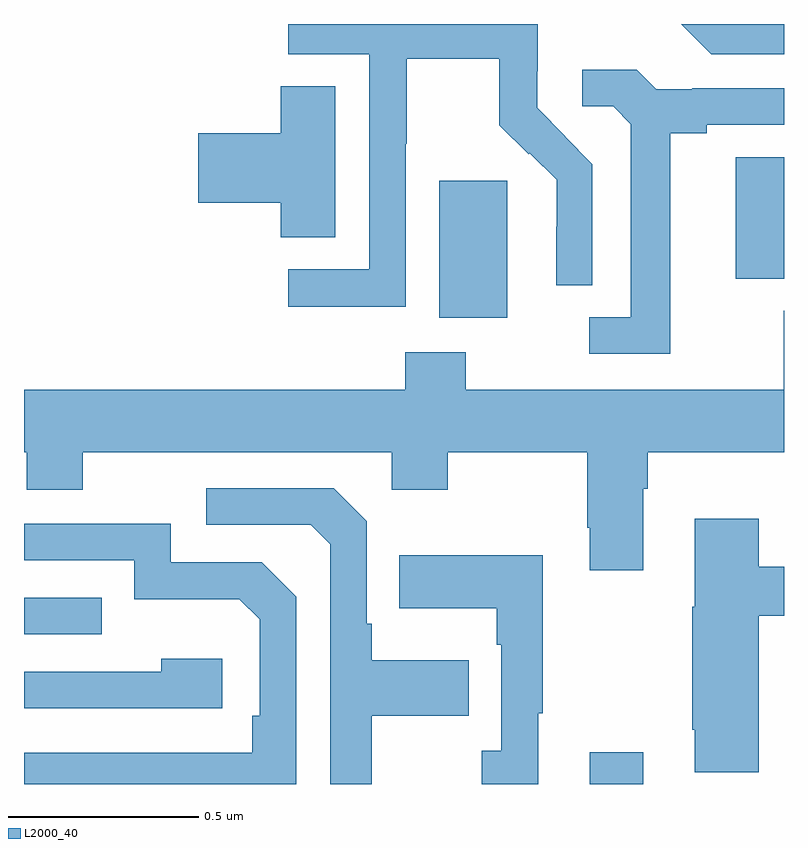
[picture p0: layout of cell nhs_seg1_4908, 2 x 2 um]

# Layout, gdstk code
import gdstk
lib = gdstk.Library(unit=1e-6, precision=1e-09)
def R(c, l, rs):  # rectangles x0, y0, x1, y1
    for r in rs: c.add(gdstk.rectangle(r[:2], r[2:], *l))
def P(c, l, *ps):  # polygons
    for p in ps: c.add(gdstk.Polygon(p, *l))
L2000_40 = (2000, 40)

nhs_seg1_4908 = lib.new_cell('nhs_seg1_4908')
R(nhs_seg1_4908, L2000_40, [(173.489,544.199,173.629,544.282), (172,544.593,172.205,544.689), (173.093,545.426,173.272,545.787), (173.873,545.529,174,545.849)])
P(nhs_seg1_4908, L2000_40, [(173.004,545.884),(173.007,545.884),(173.007,546.108),(173.251,546.108),(173.251,545.933),(173.328,545.856),(173.331,545.859),(173.402,545.789),(173.402,545.666),(173.4,545.666),(173.4,545.512),(173.496,545.512),(173.496,545.83),(173.423,545.903),(173.424,545.904),(173.35,545.978),(173.35,546.075),(173.352,546.075),(173.352,546.199),(172.695,546.199),(172.695,546.12),(172.908,546.12),(172.908,545.553),(172.695,545.553),(172.695,545.455),(173.004,545.455)],
  [(174,546.199),(173.729,546.199),(173.808,546.12),(174,546.12)],
  [(173.701,545.912),(173.797,545.912),(173.797,545.934),(174,545.934),(174,546.03),(173.758,546.03),(173.758,546.027),(173.664,546.027),(173.612,546.079),(173.469,546.079),(173.469,545.982),(173.55,545.982),(173.597,545.935),(173.597,545.427),(173.487,545.427),(173.487,545.331),(173.701,545.331)],
  [(172.819,546.035),(172.676,546.035),(172.676,545.912),(172.458,545.912),(172.458,545.729),(172.676,545.729),(172.676,545.638),(172.819,545.638)],
  [(173.629,544.976),(173.642,544.976),(173.642,545.072),(174,545.072),(174,545.444),(173.999,545.444),(173.999,545.236),(173.163,545.236),(173.163,545.335),(173.003,545.335),(173.003,545.236),(172,545.236),(172,545.072),(172.007,545.072),(172.007,544.973),(172.155,544.973),(172.155,545.072),(172.968,545.072),(172.968,544.973),(173.115,544.973),(173.115,545.072),(173.482,545.072),(173.482,544.873),(173.489,544.873),(173.489,544.761),(173.629,544.761)],
  [(172.915,544.378),(173.171,544.378),(173.171,544.525),(172.915,544.525),(172.915,544.621),(172.902,544.621),(172.902,544.89),(172.815,544.977),(172.479,544.977),(172.479,544.881),(172.755,544.881),(172.806,544.83),(172.806,544.199),(172.915,544.199)],
  [(173.933,544.642),(174,544.642),(174,544.771),(173.933,544.771),(173.933,544.897),(173.765,544.897),(173.765,544.665),(173.758,544.665),(173.758,544.342),(173.765,544.342),(173.765,544.23),(173.933,544.23)],
  [(172.716,544.692),(172.626,544.782),(172.386,544.782),(172.386,544.884),(172,544.884),(172,544.788),(172.29,544.788),(172.29,544.685),(172.567,544.685),(172.62,544.632),(172.62,544.378),(172.6,544.378),(172.6,544.281),(172,544.281),(172,544.199),(172.716,544.199)],
  [(173.353,544.385),(173.365,544.385),(173.365,544.801),(172.987,544.801),(172.987,544.661),(173.244,544.661),(173.244,544.565),(173.256,544.565),(173.256,544.286),(173.205,544.286),(173.205,544.199),(173.353,544.199)],
  [(172.522,544.528),(172.361,544.528),(172.361,544.494),(172,544.494),(172,544.398),(172.522,544.398)])

lib.write_gds('nhs_seg1_4908.gds')
